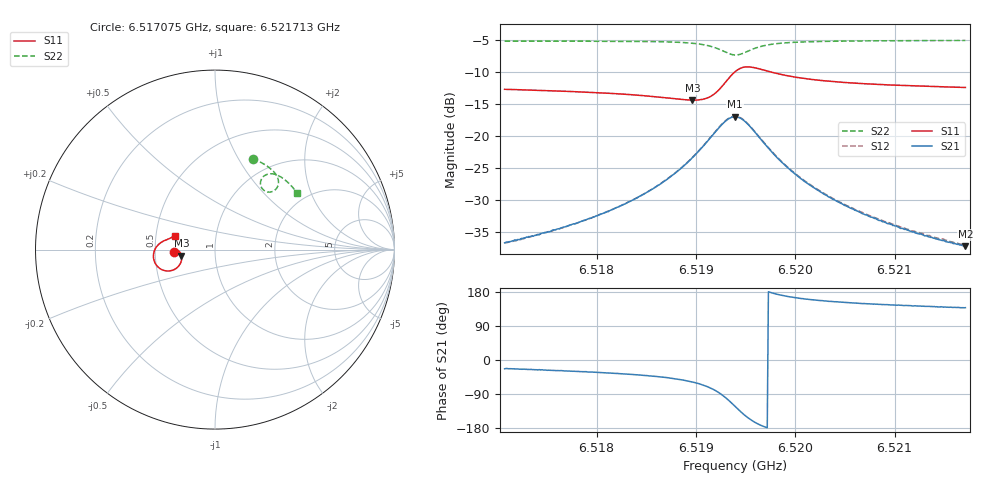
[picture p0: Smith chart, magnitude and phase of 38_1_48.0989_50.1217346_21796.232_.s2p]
#  HZ  S  RI  R  50.00
! Rohde & Schwarz Vector Network Analyzer
! Rohde-Schwarz,ZNB20-2Port,1311601062101988,3.16
! Created: UTC 12/23/2023, 3:38:26 AM
! freq[Hz]  re:S11  im:S11  re:S21  im:S21  re:S12  im:S12  re:S22  im:S22
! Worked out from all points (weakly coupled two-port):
!   401 points, 6.517075 GHz to 6.521713 GHz, reference 50 ohm
!   highest |S21| = -17.03 dB at 6.519394 GHz (marker M1); lowest = -37.3 dB at 6.521713 GHz (marker M2)
!   lowest |S11| = -14.4 dB at 6.518965 GHz (marker M3), VSWR 1.47, Z = 34.2 - j2.35 ohm
!   |S11| at or under -10 dB: start of sweep to 6.519393 GHz; 6.519748 GHz to end of sweep
!   |S22| runs from -7.4 to -5.1 dB; largest |S21 - S12| = 0.0043
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6.5170747e9  -0.2302 -0.0157  0.0133 -0.00572  0.0136 -0.00508  0.2091 0.5072
6.5175153e9  -0.225 -0.00943  0.0157 -0.00801  0.0161 -0.00756  0.2416 0.4929
6.5178516e9  -0.2199 -0.00579  0.0184 -0.011  0.0188 -0.0104  0.2665 0.4799
6.5183154e9  -0.2103 -0.0042  0.0239 -0.0183  0.0245 -0.0176  0.3016 0.4573
6.5186284e9  -0.2003 -0.00911  0.0295 -0.0288  0.0305 -0.0279  0.3259 0.4357
6.5188139e9  -0.1929 -0.0181  0.0336 -0.0405  0.0349 -0.0398  0.3403 0.4175
6.5189647e9  -0.1869 -0.0331  0.0358 -0.0571  0.0375 -0.0562  0.3505 0.3964
6.5190806e9  -0.1861 -0.0538  0.0331 -0.0771  0.0355 -0.0766  0.3539 0.3738
6.5191618e9  -0.1918 -0.0751  0.0244 -0.0966  0.0274 -0.0966  0.3498 0.3535
6.5192198e9  -0.2035 -0.0932  0.0112 -0.112  0.0146 -0.1126  0.3405 0.3381
6.5193009e9  -0.2372 -0.1153  -0.0222 -0.1287  -0.0187 -0.1302  0.3145 0.3216
6.5193937e9  -0.2963 -0.1115  -0.075 -0.1192  -0.0721 -0.1223  0.2734 0.3295
6.5194401e9  -0.3217 -0.0925  -0.0955 -0.0998  -0.0934 -0.1032  0.259 0.3461
6.5194981e9  -0.3397 -0.0603  -0.1079 -0.0698  -0.1068 -0.0734  0.2531 0.3709
6.5196024e9  -0.3387 -0.0091  -0.1016 -0.0259  -0.1016 -0.029  0.2678 0.4049
6.5196952e9  -0.3238 0.0183  -0.0857 -0.00478  -0.0863 -0.00723  0.2885 0.4186
6.5199039e9  -0.293 0.0445  -0.0568 0.0115  -0.0578 0.01  0.3268 0.421
6.5201706e9  -0.2697 0.0553  -0.0373 0.0143  -0.0381 0.0134  0.3591 0.4091
6.5205068e9  -0.2532 0.0617  -0.0251 0.0133  -0.0257 0.0129  0.3877 0.39
6.5209474e9  -0.24 0.0682  -0.0169 0.0115  -0.0175 0.0112  0.4168 0.3639
6.5213185e9  -0.2322 0.0732  -0.0129 0.0103  -0.0134 0.01  0.4372 0.3415
6.5217127e9  -0.2252 0.0785  -0.0102 0.00913  -0.0105 0.00908  0.4571 0.317
